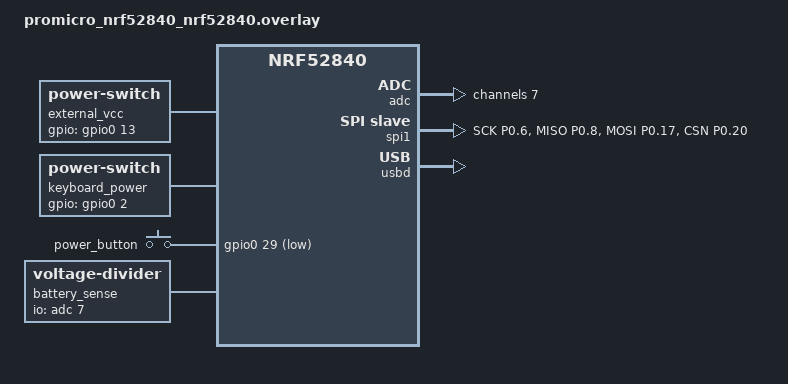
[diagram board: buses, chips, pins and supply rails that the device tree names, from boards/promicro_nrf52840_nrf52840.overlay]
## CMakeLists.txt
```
cmake_minimum_required(VERSION 3.20.0)

find_package(Zephyr REQUIRED HINTS $ENV{ZEPHYR_BASE})
project(spi_hids_keyboard_bridge)

target_sources(app PRIVATE
  src/main.c
  src/power_manager.c
  src/watchdog_manager.c
)
```

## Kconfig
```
mainmenu "SPI HIDS keyboard bridge"

source "Kconfig.zephyr"
```

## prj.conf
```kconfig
CONFIG_NCS_SAMPLES_DEFAULTS=y

CONFIG_BT=y
CONFIG_BT_PERIPHERAL=y
CONFIG_BT_SMP=y
CONFIG_BT_SMP_ALLOW_UNAUTH_OVERWRITE=y
CONFIG_BT_ID_UNPAIR_MATCHING_BONDS=y
CONFIG_BT_KEYS_OVERWRITE_OLDEST=y
CONFIG_BT_FILTER_ACCEPT_LIST=y
CONFIG_BT_DEVICE_NAME="HKB"
CONFIG_BT_DEVICE_APPEARANCE=961
CONFIG_BT_PERIPHERAL_PREF_MIN_INT=6
CONFIG_BT_PERIPHERAL_PREF_MAX_INT=12
CONFIG_BT_PERIPHERAL_PREF_LATENCY=0
CONFIG_BT_PERIPHERAL_PREF_TIMEOUT=400
CONFIG_BT_AUTO_PHY_UPDATE=n
CONFIG_BT_USER_DATA_LEN_UPDATE=y
CONFIG_BT_CONN_CTX=y
# Keep Bluetooth TX-notify processing off the system workqueue.  Transport
# handoff performs synchronous HCI advertising calls; sharing that queue with
# connection-complete flushes can otherwise deadlock during wired/wireless
# switching.
CONFIG_BT_CONN_TX_NOTIFY_WQ=y
CONFIG_BT_MAX_PAIRED=8
CONFIG_BT_ID_MAX=3

CONFIG_BT_HIDS=y
CONFIG_BT_HIDS_MAX_CLIENT_COUNT=1
CONFIG_BT_HIDS_ATTR_MAX=40
CONFIG_BT_HIDS_DEFAULT_PERM_RW_ENCRYPT=y
CONFIG_BT_GATT_CLIENT=y
CONFIG_BT_GATT_AUTO_UPDATE_MTU=y
CONFIG_BT_L2CAP_TX_MTU=65
CONFIG_BT_ATT_TX_COUNT=12
# Complete ATT notification callback as soon as the controller accepts the PDU
# into its TX queue so the SoftDevice Controller can pipeline multiple reports
# per connection event (MD=1) without stalling on single-packet radio ACKs.
CONFIG_BT_ATT_SENT_CB_AFTER_TX=n
CONFIG_BT_BUF_ACL_TX_SIZE=251
CONFIG_BT_BUF_ACL_RX_SIZE=251
CONFIG_BT_BUF_EVT_RX_COUNT=16
CONFIG_BT_GATT_UUID16_POOL_SIZE=40
CONFIG_BT_GATT_CHRC_POOL_SIZE=20
CONFIG_BT_L2CAP_TX_BUF_COUNT=12
CONFIG_BT_BUF_ACL_TX_COUNT=12
CONFIG_BT_CTLR_SDC_TX_PACKET_COUNT=12
CONFIG_BT_CTLR_PHY_2M=n
CONFIG_BT_CTLR_TX_PWR_PLUS_8=y
CONFIG_BT_CTLR_DATA_LENGTH_MAX=251
CONFIG_CLOCK_CONTROL_NRF_K32SRC_250PPM=y

CONFIG_BT_BAS=y
CONFIG_BT_DIS=y
CONFIG_BT_DIS_MANUF_NAME=y
CONFIG_BT_DIS_MANUF_NAME_STR="DIY"
CONFIG_BT_DIS_PNP=y
CONFIG_BT_DIS_PNP_VID_SRC=2
CONFIG_BT_DIS_PNP_VID=0xFFFF
CONFIG_BT_DIS_PNP_PID=0x0001
CONFIG_BT_DIS_PNP_VER=0x0001

CONFIG_BT_SETTINGS=y
CONFIG_FLASH=y
CONFIG_FLASH_PAGE_LAYOUT=y
CONFIG_FLASH_MAP=y
CONFIG_SETTINGS=y
CONFIG_NVS=y

CONFIG_SPI=y
CONFIG_ADC=y
CONFIG_POWEROFF=y

# The ProMicro USB connector is an independent, native nRF52840 CDC ACM
# diagnostic console.  UF2 flashing remains provided by the bootloader.
CONFIG_BOARD_SERIAL_BACKEND_CDC_ACM=y
CONFIG_USB_DEVICE_STACK_NEXT=y
CONFIG_CDC_ACM_SERIAL_INITIALIZE_AT_BOOT=y
CONFIG_SERIAL=y
CONFIG_UART_LINE_CTRL=y

CONFIG_LOG=y
CONFIG_LOG_MODE_MINIMAL=n
CONFIG_LOG_MODE_DEFERRED=y
CONFIG_LOG_MODE_OVERFLOW=y
CONFIG_LOG_BUFFER_SIZE=4096
CONFIG_LOG_PROCESS_THREAD_SLEEP_MS=50
CONFIG_CONSOLE=y
CONFIG_UART_CONSOLE=y
CONFIG_LOG_BACKEND_UART=y
CONFIG_LOG_BACKEND_UART_BUFFER_SIZE=128
CONFIG_USE_SEGGER_RTT=n
CONFIG_RTT_CONSOLE=n
CONFIG_LOG_BACKEND_RTT=n
CONFIG_ASSERT=y
CONFIG_MAIN_STACK_SIZE=3072

# Hardware watchdog timer
CONFIG_WATCHDOG=y
CONFIG_WDT_DISABLE_AT_BOOT=n

# Automatic crash self-healing: reboot instead of halting on fatal error/assert
CONFIG_REBOOT=y
CONFIG_RESET_ON_FATAL_ERROR=y
CONFIG_EXCEPTION_DEBUG=n
```

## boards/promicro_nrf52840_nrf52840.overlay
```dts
/*
 * SPI: SCK P0.06, MISO P0.08, MOSI P0.17, CSN P0.20
 * Power: TPS22919 ON P0.02, external VCC enable P0.13
 * Input: active-low power button P0.29, battery divider P0.31/AIN7
 */

#include <zephyr/dt-bindings/adc/adc.h>
#include <zephyr/dt-bindings/adc/nrf-saadc.h>
#include <zephyr/dt-bindings/gpio/gpio.h>

/ {
	external_vcc: external-vcc-control {
		compatible = "power-switch";
		gpios = <&gpio0 13 GPIO_ACTIVE_HIGH>;
	};

	keyboard_power: keyboard-power-control {
		compatible = "power-switch";
		gpios = <&gpio0 2 GPIO_ACTIVE_HIGH>;
	};

	buttons {
		compatible = "gpio-keys";

		power_button: power-button {
			gpios = <&gpio0 29 (GPIO_PULL_UP | GPIO_ACTIVE_LOW)>;
		};
	};

	battery_sense: battery-sense {
		compatible = "voltage-divider";
		io-channels = <&adc 7>;
		output-ohms = <1000000>;
		full-ohms = <2000000>;
	};
};

&adc {
	#address-cells = <1>;
	#size-cells = <0>;

	channel@7 {
		reg = <7>;
		zephyr,gain = "ADC_GAIN_1_6";
		zephyr,reference = "ADC_REF_INTERNAL";
		/*
		 * 1MΩ || 1MΩ gives a 500kΩ source impedance.  The capacitor at
		 * AIN7 supplies the SAADC sampling pulse; 40us is the longest
		 * acquisition time supported by the nRF52840 SAADC driver.
		 */
		zephyr,acquisition-time = <ADC_ACQ_TIME(ADC_ACQ_TIME_MICROSECONDS, 40)>;
		zephyr,input-positive = <NRF_SAADC_AIN7>;
		zephyr,resolution = <12>;
		/* Zephyr encodes oversampling as an exponent: 3 means 2^3 = 8 samples. */
		zephyr,oversampling = <3>;
	};
};

/*
 * No gpio-hog on P0.02/P0.13.
 *
 * The rails used to be forced high before main() ran, which made any edge on
 * P0.29 boot the whole keyboard -- a pocket brush was enough, and it left the
 * power switch asymmetric (1 s hold to shut down, instant to start).
 * power_manager_init() now brings the rails up only after the button has been
 * held for POWER_BUTTON_ON_HOLD_MS, so charging works with the keyboard off.
 */

&pinctrl {
	spi1_spis_default: spi1_spis_default {
		group1 {
			psels = <NRF_PSEL(SPIS_SCK, 0, 6)>,
				<NRF_PSEL(SPIS_MISO, 0, 8)>,
				<NRF_PSEL(SPIS_MOSI, 0, 17)>,
				<NRF_PSEL(SPIS_CSN, 0, 20)>;
		};
	};

	spi1_spis_sleep: spi1_spis_sleep {
		group1 {
			psels = <NRF_PSEL(SPIS_SCK, 0, 6)>,
				<NRF_PSEL(SPIS_MISO, 0, 8)>,
				<NRF_PSEL(SPIS_MOSI, 0, 17)>,
				<NRF_PSEL(SPIS_CSN, 0, 20)>;
			low-power-enable;
		};
	};
};

&spi1 {
	compatible = "nordic,nrf-spis";
	status = "okay";
	def-char = <0x00>;
	pinctrl-0 = <&spi1_spis_default>;
	pinctrl-1 = <&spi1_spis_sleep>;
	pinctrl-names = "default", "sleep";
};

/* The board DTS enables several general-purpose peripherals by default.  This
 * application only needs GPIO, SAADC, radio, and SPI1; leave the unused blocks
 * disabled so their drivers do not configure pins or consume idle power. */
&uart0 {
	status = "disabled";
};

&i2c0 {
	status = "disabled";
};

&i2c1 {
	status = "disabled";
};

&pwm0 {
	status = "disabled";
};

&spi2 {
	status = "disabled";
};

&ieee802154 {
	status = "disabled";
};

/* Native USB is used only as an independent CDC ACM diagnostic console. */
&usbd {
	status = "okay";
};
```

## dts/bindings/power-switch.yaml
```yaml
description: GPIO-controlled external power switch

compatible: "power-switch"

properties:
  gpios:
    type: phandle-array
    required: true
    description: GPIO that enables the external power rail
```

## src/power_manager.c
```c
#include "power_manager.h"

#include <errno.h>
#include <stdint.h>

#include <zephyr/bluetooth/services/bas.h>
#include <zephyr/device.h>
#include <zephyr/devicetree.h>
#include <zephyr/drivers/adc.h>
#include <zephyr/drivers/gpio.h>
#include <zephyr/kernel.h>
#include <zephyr/sys/atomic.h>
#include <zephyr/sys/poweroff.h>
#include <zephyr/sys/printk.h>
#include <zephyr/sys/reboot.h>
#include <zephyr/sys/util.h>
#include <hal/nrf_power.h>

#define BATTERY_NODE DT_NODELABEL(battery_sense)

#define BATTERY_SAMPLE_INTERVAL K_SECONDS(30)
#define BATTERY_FILTER_DOWN_WEIGHT 3  /* Falling voltage: (old*3 + new)/4 */
#define BATTERY_FILTER_UP_WEIGHT 15   /* Load recovery: (old*15 + new)/16 */
#define POWER_BUTTON_HOLD_MS 1000
#define BATTERY_IDLE_SAMPLE_COUNT 3            /* 空闲3次采样后取平均 */
#define POWER_BUTTON_RELEASE_DEBOUNCE_MS 30
/* Power-on needs the same deliberate hold as power-off.  Without this a single
 * edge on P0.29 booted the whole keyboard, so an accidental brush in a bag
 * turned it on and drained the battery. */
#define POWER_BUTTON_ON_HOLD_MS 1000
#define POWER_BUTTON_ON_POLL_MS 20
/* Let the internal pull-up settle before the first read.  main() runs this only
 * a few hundred microseconds after GPIO init. */
#define POWER_BUTTON_SETTLE_MS 5
/* The wake source may be a capacitive touch pad rather than a clean mechanical
 * contact, so its output can chatter during a hold.  Require the button to be
 * down for this share of the samples instead of every single one. */
#define POWER_BUTTON_ON_HOLD_MIN_PERCENT 70
/* Consecutive released samples that count as a real release (5 * 20ms = 100ms).
 * Anything shorter is treated as chatter inside a continuing hold. */
#define POWER_BUTTON_RELEASE_SAMPLES 5U
/* Upper bound on any wait-for-release loop.  A pad stuck active must not keep
 * the CPU spinning with the rails already down. */
#define POWER_BUTTON_RELEASE_TIMEOUT_MS 5000U
/* Length of the confirmation sampling window on the shutdown path.  The hold
 * work is scheduled this much earlier than POWER_BUTTON_HOLD_MS and then samples
 * for this long, so a pass still means the button was down for roughly
 * POWER_BUTTON_HOLD_MS in total. */
#define POWER_BUTTON_HOLD_CONFIRM_MS 200U

struct battery_curve_point {
	uint16_t millivolts;
	uint8_t percent;
};

static const struct battery_curve_point battery_curve[] = {
	{ 4200, 100 },
	{ 4100, 90 },
	{ 4000, 80 },
	{ 3920, 70 },
	{ 3850, 60 },
	{ 3790, 50 },
	{ 3740, 40 },
	{ 3700, 30 },
	{ 3650, 20 },
	{ 3550, 10 },
	{ 3400, 5 },
	{ 3300, 0 },
};

static const struct gpio_dt_spec external_vcc_enable =
	GPIO_DT_SPEC_GET(DT_NODELABEL(external_vcc), gpios);
static const struct gpio_dt_spec keyboard_load_enable =
	GPIO_DT_SPEC_GET(DT_NODELABEL(keyboard_power), gpios);
static const struct gpio_dt_spec power_button =
	GPIO_DT_SPEC_GET(DT_NODELABEL(power_button), gpios);
static const struct adc_dt_spec battery_adc = ADC_DT_SPEC_GET(BATTERY_NODE);

static atomic_t keyboard_powered = ATOMIC_INIT(1);
static atomic_t shutdown_started = ATOMIC_INIT(0);
static bool power_gpio_ready;
K_MUTEX_DEFINE(power_mutex);

static bool battery_ready;
static bool battery_calibrate = true;
static int32_t battery_filtered_mv;
static int32_t battery_samples[BATTERY_IDLE_SAMPLE_COUNT];
static uint8_t battery_sample_index;
static uint8_t battery_sample_count;
static struct k_work_delayable battery_work;

static bool power_button_ready;
static struct gpio_callback power_button_callback;
static struct k_work_delayable power_button_hold_work;
static power_shutdown_prepare_cb_t shutdown_prepare_cb;

static uint8_t battery_percent_from_mv(int32_t millivolts)
{
	if (millivolts >= battery_curve[0].millivolts) {
		return battery_curve[0].percent;
	}

	for (size_t i = 1; i < ARRAY_SIZE(battery_curve); i++) {
		const struct battery_curve_point *high = &battery_curve[i - 1];
		const struct battery_curve_point *low = &battery_curve[i];

		if (millivolts >= low->millivolts) {
			return low->percent +
			       (uint32_t)(high->percent - low->percent) *
			       (millivolts - low->millivolts) /
			       (high->millivolts - low->millivolts);
		}
	}

	return 0;
}

static int battery_sample_mv(int32_t *battery_mv)
{
	int16_t raw;
	struct adc_sequence sequence = {
		.buffer = &raw,
		.buffer_size = sizeof(raw),
		.calibrate = battery_calibrate,
	};

	/* Hardware SAADC oversampling (4x = 16 samples in devicetree) averages
	 * high-frequency noise in a single conversion without stalling the
	 * system workqueue across multiple k_msleep() delays. */
	int ret = adc_sequence_init_dt(&battery_adc, &sequence);
	if (ret < 0) {
		return ret;
	}

	sequence.calibrate = battery_calibrate;
	ret = adc_read_dt(&battery_adc, &sequence);
	if (ret < 0) {
		return ret;
	}
	battery_calibrate = false;

	int32_t divider_mv = raw;
	ret = adc_raw_to_millivolts_dt(&battery_adc, &divider_mv);
	if (ret < 0) {
		return ret;
	}

	/* 2倍分压，恢复实际电池电压 */
	*battery_mv = divider_mv * (uint64_t)DT_PROP(BATTERY_NODE, full_ohms) /
		      DT_PROP(BATTERY_NODE, output_ohms);
	return 0;
}

/* Average consecutive sampling periods to reduce load transients. */
static int battery_get_stable_mv(int32_t *stable_mv)
{
	int32_t sample_mv;
	int ret = battery_sample_mv(&sample_mv);

	if (ret < 0) {
		return ret;
	}

	/* 累积多次采样 */
	battery_samples[battery_sample_index] = sample_mv;
	battery_sample_index = (battery_sample_index + 1) % BATTERY_IDLE_SAMPLE_COUNT;
	if (battery_sample_count < BATTERY_IDLE_SAMPLE_COUNT) {
		battery_sample_count++;
	}

	/* 计算平均值（去除负载瞬态影响） */
	int64_t sum = 0;
	for (uint8_t i = 0; i < battery_sample_count; i++) {
		sum += battery_samples[i];
	}
	*stable_mv = (int32_t)(sum / battery_sample_count);
	return 0;
}

static void battery_work_fn(struct k_work *work)
{
	ARG_UNUSED(work);

	int32_t millivolts;
	int ret = battery_get_stable_mv(&millivolts);

	if (ret < 0) {
		/* Never turn an ADC error into a plausible but false battery value. */
		printk("Battery sample failed: %d\n", ret);
		(void)k_work_reschedule(&battery_work, BATTERY_SAMPLE_INTERVAL);
		return;
	}

	/* 初次读数或滤波值为0时，直接使用当前值 */
	if (battery_filtered_mv == 0) {
		battery_filtered_mv = millivolts;
	} else {
		/* Voltage rebounds when the key/LED load is removed.  Accept rises much
		 * more slowly than falls so reconnecting does not produce large jumps,
		 * while real charging can still move the estimate upward. */
		const int32_t weight = millivolts > battery_filtered_mv ?
			BATTERY_FILTER_UP_WEIGHT : BATTERY_FILTER_DOWN_WEIGHT;

		battery_filtered_mv =
			(battery_filtered_mv * weight + millivolts) / (weight + 1);
	}

	uint8_t percent = battery_percent_from_mv(battery_filtered_mv);

	ret = bt_bas_set_battery_level(percent);
	if (ret < 0 && ret != -EINVAL) {
		/* 不打印错误，避免未连接时刷屏 */
	}
	/* Keep both values in RTT so the divider/ADC can be calibrated separately
	 * from the load-dependent percentage curve. */
	printk("Battery: sample=%d mV, filtered=%d mV, %u%%\n",
	       millivolts, battery_filtered_mv, percent);

	(void)k_work_reschedule(&battery_work, BATTERY_SAMPLE_INTERVAL);
}

bool keyboard_power_is_enabled(void)
{
	return atomic_get(&keyboard_powered) != 0;
}

void keyboard_power_set(bool enabled)
{
	if (!power_gpio_ready) {
		printk("Keyboard power command ignored: GPIOs not ready\n");
		return;
	}

	k_mutex_lock(&power_mutex, K_FOREVER);
	if (enabled == keyboard_power_is_enabled()) {
		k_mutex_unlock(&power_mutex);
		return;
	}

	int ret;

	if (enabled) {
		ret = gpio_pin_set_dt(&external_vcc_enable, 1);
		if (ret == 0) {
			k_msleep(2);
			ret = gpio_pin_set_dt(&keyboard_load_enable, 1);
		}
	} else {
		ret = gpio_pin_set_dt(&keyboard_load_enable, 0);
		if (ret == 0) {
			k_msleep(2);
			ret = gpio_pin_set_dt(&external_vcc_enable, 0);
		}
	}

	if (ret < 0) {
		printk("Keyboard power GPIO write failed: %d\n", ret);
	} else {
		atomic_set(&keyboard_powered, enabled ? 1 : 0);
		printk("Keyboard power %s (P0.02=%u, P0.13=%u)\n",
		       enabled ? "on" : "off", enabled ? 1U : 0U,
		       enabled ? 1U : 0U);
	}
	k_mutex_unlock(&power_mutex);
}

static bool power_button_is_pressed(void)
{
	int value = gpio_pin_get_dt(&power_button);

	if (value < 0) {
		printk("Power button read failed: %d\n", value);
		return false;
	}

	return value != 0;
}

/* Sample the button over window_ms and report whether it read pressed for at
 * least POWER_BUTTON_ON_HOLD_MIN_PERCENT of the samples.
 *
 * A single gpio_pin_get_dt() is not enough to decide "still held": the wake
 * source is a touch pad whose output chatters, so an unlucky instant reads
 * released while the finger is still down.  That is what made shutdown feel
 * unreliable -- the 1 s check landed in a gap and silently did nothing. */
static bool power_button_held_over(uint32_t window_ms)
{
	const uint32_t samples = window_ms / POWER_BUTTON_ON_POLL_MS;
	const uint32_t needed = (samples * POWER_BUTTON_ON_HOLD_MIN_PERCENT) / 100U;
	uint32_t pressed_samples = 0;
	uint32_t consecutive_release = 0;

	for (uint32_t i = 0; i < samples; i++) {
		if (power_button_is_pressed()) {
			pressed_samples++;
			consecutive_release = 0;
		} else if (++consecutive_release >= POWER_BUTTON_RELEASE_SAMPLES) {
			/* Solid release: the user let go, no point sampling on. */
			break;
		}
		k_msleep(POWER_BUTTON_ON_POLL_MS);
	}

	printk("Power button hold: %u/%u samples (need %u)\n",
	       (unsigned int)pressed_samples, (unsigned int)samples,
	       (unsigned int)needed);
	return pressed_samples >= needed;
}

/* Block until the button reads released for POWER_BUTTON_RELEASE_SAMPLES in a
 * row, so chatter mid-release does not end the wait early.  Bounded by
 * POWER_BUTTON_RELEASE_TIMEOUT_MS: a stuck-low pad must not wedge the caller,
 * because on the shutdown path that would keep the CPU out of System OFF and
 * drain the battery with the rails already down. */
static void power_button_wait_for_release(void)
{
	uint32_t consecutive_release = 0;
	uint32_t waited_ms = 0;

	while (consecutive_release < POWER_BUTTON_RELEASE_SAMPLES) {
		if (power_button_is_pressed()) {
			consecutive_release = 0;
		} else {
			consecutive_release++;
		}

		if (waited_ms >= POWER_BUTTON_RELEASE_TIMEOUT_MS) {
			printk("Power button still active after %ums; continuing\n",
			       (unsigned int)waited_ms);
			return;
		}

		k_msleep(POWER_BUTTON_ON_POLL_MS);
		waited_ms += POWER_BUTTON_ON_POLL_MS;
	}
}

static void power_manager_shutdown_impl(bool allow_gpio_wake)
{
	if (!atomic_cas(&shutdown_started, 0, 1)) {
		return;
	}

	printk("System shutdown requested\n");
	if (power_button_ready) {
		(void)gpio_pin_interrupt_configure_dt(&power_button, GPIO_INT_DISABLE);
	}
	if (battery_ready) {
		(void)k_work_cancel_delayable(&battery_work);
	}

	if (shutdown_prepare_cb) {
		shutdown_prepare_cb();
	}

	keyboard_power_set(false);

	/* nRF52840 hardware watchdog cannot be stopped while running; entering System OFF
	 * with active WDT would cause false wakeups after the timeout expires.
	 * We set GPREGRET magic and reset the SOC, entering a clean System OFF on next boot
	 * BEFORE the watchdog is ever started.
	 */
	if (allow_gpio_wake && power_button_ready) {
		power_button_wait_for_release();
		k_msleep(POWER_BUTTON_RELEASE_DEBOUNCE_MS);
		nrf_power_gpregret_set(NRF_POWER, 0, POWER_GPREGRET_SHUTDOWN_WAKE);
		printk("Resetting SOC to enter clean System OFF (wake enabled)...\n");
	} else {
		nrf_power_gpregret_set(NRF_POWER, 0, POWER_GPREGRET_SHUTDOWN_NO_WAKE);
		printk("Resetting SOC to enter clean System OFF (wake disabled)...\n");
	}

	k_msleep(10);
	sys_reboot(SYS_REBOOT_COLD);
}

void power_manager_shutdown(void)
{
	power_manager_shutdown_impl(true);
}

void power_manager_shutdown_no_wake(void)
{
	power_manager_shutdown_impl(false);
}

static void power_button_hold_fn(struct k_work *work)
{
	ARG_UNUSED(work);

	/* Confirm over a window instead of a single read at the 1 s mark.  The
	 * work fires POWER_BUTTON_HOLD_CONFIRM_MS early so a pass still means the
	 * button was down for about POWER_BUTTON_HOLD_MS in total. */
	if (power_button_held_over(POWER_BUTTON_HOLD_CONFIRM_MS)) {
		power_manager_shutdown();
	} else {
		printk("Power button released early; no shutdown\n");
	}
}

static void power_button_handler(const struct device *port,
				 struct gpio_callback *callback,
				 gpio_port_pins_t pins)
{
	ARG_UNUSED(port);
	ARG_UNUSED(callback);
	ARG_UNUSED(pins);

	(void)k_work_schedule(&power_button_hold_work,
			      K_MSEC(POWER_BUTTON_HOLD_MS -
				     POWER_BUTTON_HOLD_CONFIRM_MS));
}

/* True when this boot came from System OFF (i.e. a P0.29 wake) rather than a
 * cold start such as a fresh flash, USB attach, or pin reset.
 *
 * A cold start has nobody holding the button, so gating it on a hold would drop
 * straight back into System OFF and look like dead hardware.  Only a wake from
 * System OFF is required to prove intent. */
static bool boot_is_wake_from_system_off(void)
{
	uint32_t reas = nrf_power_resetreas_get(NRF_POWER);

	/* Clear so the next boot sees only its own cause. */
	nrf_power_resetreas_clear(NRF_POWER, reas);

	printk("RESETREAS=0x%08X", (unsigned int)reas);
	if (reas & NRF_POWER_RESETREAS_DOG_MASK) {
		printk(" [WATCHDOG RESET - auto self-healed]");
	}
	if (reas & NRF_POWER_RESETREAS_SREQ_MASK) {
		printk(" [SOFTWARE RESET]");
	}
	if (reas & NRF_POWER_RESETREAS_OFF_MASK) {
		printk(" [SYSTEM OFF WAKE]");
	}
	if (reas & NRF_POWER_RESETREAS_RESETPIN_MASK) {
		printk(" [PIN RESET]");
	}
	printk("\n");

	return (reas & NRF_POWER_RESETREAS_OFF_MASK) != 0U;
}

/* Wait for a deliberate hold on P0.29 before powering the keyboard.
 *
 * Returns true if the button was down for at least
 * POWER_BUTTON_ON_HOLD_MIN_PERCENT of the sampling window.  Runs before SPI and
 * Bluetooth are up, so polling is fine.  A brief edge (bag brush, or the release
 * bounce of the shutdown press itself) fails the threshold and the caller goes
 * back to System OFF instead of booting the keyboard.
 *
 * The threshold rather than an all-or-nothing check matters because the wake
 * source may be a capacitive touch pad whose output chatters while held. */
static bool power_button_wait_for_on_hold(void)
{
	/* Let the internal pull-up settle before the first read. */
	k_msleep(POWER_BUTTON_SETTLE_MS);

	return power_button_held_over(POWER_BUTTON_ON_HOLD_MS);
}

/* Re-arm P0.29 as the wake source and go back to System OFF without touching
 * the keyboard rails -- they were never brought up on this boot. */
static void power_manager_abort_boot(void)
{
	printk("Power button not held; returning to System OFF\n");
	(void)gpio_pin_interrupt_configure_dt(&power_button, GPIO_INT_DISABLE);

	power_button_wait_for_release();
	k_msleep(POWER_BUTTON_RELEASE_DEBOUNCE_MS);

	int ret = gpio_pin_interrupt_configure_dt(&power_button, GPIO_INT_LEVEL_ACTIVE);

	if (ret < 0) {
		printk("Power button wake configuration failed: %d\n", ret);
	}
	k_msleep(5);
	sys_poweroff();
}

int power_manager_init(power_shutdown_prepare_cb_t shutdown_prepare)
{
	shutdown_prepare_cb = shutdown_prepare;

	/* If boot came from shutdown transition, enter clean System OFF immediately
	 * before watchdog is ever started.
	 */
	uint32_t gpregret = nrf_power_gpregret_get(NRF_POWER, 0);
	if (gpregret == POWER_GPREGRET_SHUTDOWN_WAKE ||
	    gpregret == POWER_GPREGRET_SHUTDOWN_NO_WAKE) {
		nrf_power_gpregret_set(NRF_POWER, 0, 0);
		printk("Shutdown transition detected (GPREGRET=0x%02X)\n", (unsigned int)gpregret);

		if (gpio_is_ready_dt(&external_vcc_enable)) {
			(void)gpio_pin_configure_dt(&external_vcc_enable, GPIO_OUTPUT_INACTIVE);
		}
		if (gpio_is_ready_dt(&keyboard_load_enable)) {
			(void)gpio_pin_configure_dt(&keyboard_load_enable, GPIO_OUTPUT_INACTIVE);
		}

		if (gpregret == POWER_GPREGRET_SHUTDOWN_WAKE && gpio_is_ready_dt(&power_button)) {
			(void)gpio_pin_configure_dt(&power_button, GPIO_INPUT);
			power_button_wait_for_release();
			k_msleep(POWER_BUTTON_RELEASE_DEBOUNCE_MS);
			int ret = gpio_pin_interrupt_configure_dt(&power_button, GPIO_INT_LEVEL_ACTIVE);
			if (ret < 0) {
				printk("Power button wake configuration failed: %d\n", ret);
			}
			printk("Entering clean System OFF (WDT stopped); press P0.29 to wake\n");
		} else {
			printk("Entering clean System OFF (WDT stopped); cycle switch to restart\n");
		}

		k_msleep(5);
		sys_poweroff();
		return 0;
	}

	if (!gpio_is_ready_dt(&external_vcc_enable) ||
	    !gpio_is_ready_dt(&keyboard_load_enable)) {
		printk("Keyboard power GPIO device not ready\n");
		return -ENODEV;
	}

	/* Start with both rails off.  The devicetree gpio-hog that used to force
	 * them high before main() is gone, so nothing is powered until the
	 * power-on hold below is satisfied. */
	int ret = gpio_pin_configure_dt(&external_vcc_enable, GPIO_OUTPUT_INACTIVE);

	if (ret < 0) {
		return ret;
	}
	ret = gpio_pin_configure_dt(&keyboard_load_enable, GPIO_OUTPUT_INACTIVE);
	if (ret < 0) {
		return ret;
	}
	power_gpio_ready = true;
	atomic_set(&keyboard_powered, 0);

	/* The power button must be readable to gate the boot.  If it is not, fall
	 * back to powering up unconditionally so the keyboard is never bricked. */
	if (!gpio_is_ready_dt(&power_button)) {
		printk("Power button GPIO not ready; powering up unconditionally\n");
		keyboard_power_set(true);
		return 0;
	}

	ret = gpio_pin_configure_dt(&power_button, GPIO_INPUT);
	if (ret < 0) {
		printk("Power button setup failed: %d; powering up unconditionally\n", ret);
		keyboard_power_set(true);
		return 0;
	}
	power_button_ready = true;

	/* Only a wake from System OFF has to prove intent with a hold.  A cold
	 * start (fresh flash, USB attach, pin reset) powers up directly -- nobody
	 * is holding the button then, and refusing to boot would look like dead
	 * hardware. */
	if (boot_is_wake_from_system_off() && !power_button_wait_for_on_hold()) {
		power_manager_abort_boot();
		/* Not reached. */
		return 0;
	}

	keyboard_power_set(true);
	printk("Keyboard power on (TPS22919 ON=P0.02)\n");

	if (!adc_is_ready_dt(&battery_adc)) {
		printk("Battery ADC device not ready\n");
	} else {
		ret = adc_channel_setup_dt(&battery_adc);
		if (ret < 0) {
			printk("Battery ADC setup failed: %d\n", ret);
		} else {
			battery_ready = true;
			k_work_init_delayable(&battery_work, battery_work_fn);
		}
	}

	/* The button pin itself was already configured above to gate the boot;
	 * only the shutdown-hold work and its callback remain to be wired up. */
	k_work_init_delayable(&power_button_hold_work, power_button_hold_fn);
	gpio_init_callback(&power_button_callback, power_button_handler,
			   BIT(power_button.pin));
	ret = gpio_add_callback(power_button.port, &power_button_callback);
	if (ret < 0) {
		printk("Power button callback setup failed: %d\n", ret);
		power_button_ready = false;
		return 0;
	}

	printk("Power button configured on P0.29 (active low)\n");
	return 0;
}

void power_manager_start(void)
{
	if (battery_ready) {
		(void)k_work_reschedule(&battery_work, K_NO_WAIT);
	}

	if (power_button_ready) {
		int ret = gpio_pin_interrupt_configure_dt(&power_button,
						  GPIO_INT_EDGE_TO_ACTIVE);

		if (ret < 0) {
			printk("Power button interrupt setup failed: %d\n", ret);
		}
	}
}
```

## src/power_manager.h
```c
#ifndef POWER_MANAGER_H_
#define POWER_MANAGER_H_

#include <stdbool.h>

#define POWER_GPREGRET_SHUTDOWN_WAKE    0xA5U
#define POWER_GPREGRET_SHUTDOWN_NO_WAKE 0x5AU

typedef void (*power_shutdown_prepare_cb_t)(void);

int power_manager_init(power_shutdown_prepare_cb_t shutdown_prepare);
void power_manager_start(void);
void keyboard_power_set(bool enabled);
bool keyboard_power_is_enabled(void);
void power_manager_shutdown(void);
void power_manager_shutdown_no_wake(void);

#endif /* POWER_MANAGER_H_ */
```

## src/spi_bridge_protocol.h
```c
#pragma once

#include <stdbool.h>
#include <stdint.h>
#include <string.h>

#define SPI_BRIDGE_FRAME_LEN 48u
#define SPI_BRIDGE_ACK_LEN 8u

#define SPI_BRIDGE_BOOT_REPORT_LEN 8u
#define SPI_BRIDGE_BOOT_REPORT_MODS_INDEX 0u
#define SPI_BRIDGE_BOOT_REPORT_RESERVED_INDEX 1u
#define SPI_BRIDGE_BOOT_REPORT_KEYS_INDEX 2u
#define SPI_BRIDGE_BOOT_REPORT_KEYS_LEN 6u

#define SPI_BRIDGE_NKRO_BITS_LEN 30u
#define SPI_BRIDGE_NKRO_REPORT_LEN (1u + SPI_BRIDGE_NKRO_BITS_LEN)

#define SPI_BRIDGE_FRAME_HDR0 0xB4u
#define SPI_BRIDGE_FRAME_HDR1 0x4Bu
#define SPI_BRIDGE_FRAME_TYPE_INDEX 2u
#define SPI_BRIDGE_FRAME_VERSION_INDEX 3u
#define SPI_BRIDGE_FRAME_SEQ_INDEX 4u
#define SPI_BRIDGE_FRAME_PAYLOAD_LEN_INDEX 5u
#define SPI_BRIDGE_FRAME_PAYLOAD_INDEX 8u
#define SPI_BRIDGE_FRAME_CRC_INDEX 46u
#define SPI_BRIDGE_FRAME_TAIL_INDEX 47u
#define SPI_BRIDGE_FRAME_TAIL 0x96u
#define SPI_BRIDGE_FRAME_VERSION 1u
#define SPI_BRIDGE_FRAME_PAYLOAD_MAX \
	(SPI_BRIDGE_FRAME_CRC_INDEX - SPI_BRIDGE_FRAME_PAYLOAD_INDEX)

#define SPI_BRIDGE_REPORT_KEYBOARD_BOOT 0x01u
#define SPI_BRIDGE_REPORT_KEYBOARD_NKRO 0x02u
#define SPI_BRIDGE_REPORT_CONSUMER 0x03u
#define SPI_BRIDGE_REPORT_SYSTEM 0x04u

#define SPI_BRIDGE_PROFILE_COUNT 3u

#define SPI_BRIDGE_CTRL_PROFILE_1 0x01u
#define SPI_BRIDGE_CTRL_PROFILE_2 0x02u
#define SPI_BRIDGE_CTRL_PROFILE_3 0x03u
#define SPI_BRIDGE_CTRL_PROFILE_LAST SPI_BRIDGE_CTRL_PROFILE_3
#define SPI_BRIDGE_CTRL_USER_ACTIVITY 0xF1u
#define SPI_BRIDGE_CTRL_DISCONNECT 0xF2u
#define SPI_BRIDGE_CTRL_CLEAR_ACTIVE 0xF3u
#define SPI_BRIDGE_CTRL_CLEAR_ALL 0xF4u
#define SPI_BRIDGE_CTRL_USB_ABSENT 0xF5u
#define SPI_BRIDGE_CTRL_USB_PRESENT 0xF6u
#define SPI_BRIDGE_CTRL_MODE_WIRED 0xF7u
#define SPI_BRIDGE_CTRL_MODE_WIRELESS 0xF8u
#define SPI_BRIDGE_CTRL_DEBUG_FEEDBACK_0 0xE8u
#define SPI_BRIDGE_CTRL_DEBUG_FEEDBACK_1 0xE9u
#define SPI_BRIDGE_CTRL_DEBUG_FEEDBACK_COUNT 0xEAu

#define SPI_BRIDGE_CTRL_HDR0 0xC3u
#define SPI_BRIDGE_CTRL_HDR1 0x3Cu
#define SPI_BRIDGE_CTRL_CMD_INDEX 2u
#define SPI_BRIDGE_CTRL_SEQ_INDEX 3u
#define SPI_BRIDGE_CTRL_CMD_INV_INDEX 4u
#define SPI_BRIDGE_CTRL_SEQ_INV_INDEX 5u
#define SPI_BRIDGE_CTRL_CRC_INDEX 6u
#define SPI_BRIDGE_CTRL_TAIL_INDEX 7u
#define SPI_BRIDGE_CTRL_TAIL 0x69u

#define SPI_BRIDGE_HOST_LED_NUM_LOCK 0x01u
#define SPI_BRIDGE_HOST_LED_CAPS_LOCK 0x02u
#define SPI_BRIDGE_HOST_LED_SCROLL_LOCK 0x04u
#define SPI_BRIDGE_HOST_LED_MASK \
	(SPI_BRIDGE_HOST_LED_NUM_LOCK | SPI_BRIDGE_HOST_LED_CAPS_LOCK | SPI_BRIDGE_HOST_LED_SCROLL_LOCK)

#define SPI_BRIDGE_ACK_LED_PROFILE_SHIFT 3u
#define SPI_BRIDGE_ACK_LED_PROFILE_MASK (0x03u << SPI_BRIDGE_ACK_LED_PROFILE_SHIFT)
#define SPI_BRIDGE_ACK_LED_BLE_IND_ACTIVE 0x20u
#define SPI_BRIDGE_ACK_LED_BLE_IND_ON 0x40u
#define SPI_BRIDGE_ACK_LED_VALID_BITS_MASK \
	(SPI_BRIDGE_HOST_LED_MASK | SPI_BRIDGE_ACK_LED_PROFILE_MASK | \
	 SPI_BRIDGE_ACK_LED_BLE_IND_ACTIVE | SPI_BRIDGE_ACK_LED_BLE_IND_ON)

#define SPI_BRIDGE_ACK_HDR0 0xA5u
#define SPI_BRIDGE_ACK_HDR1 0x5Au
#define SPI_BRIDGE_ACK_COUNT_LO_INDEX 2u
#define SPI_BRIDGE_ACK_COUNT_HI_INDEX 3u
#define SPI_BRIDGE_ACK_LED_INDEX 4u
#define SPI_BRIDGE_ACK_FLAGS_INDEX 5u
#define SPI_BRIDGE_ACK_CTRL_SEQ_INDEX 6u
#define SPI_BRIDGE_ACK_CTRL_CMD_INDEX 7u
#define SPI_BRIDGE_ACK_REPORT_TOKEN 0x00u
#define SPI_BRIDGE_ACK_FLAG_LED_VALID 0x01u
#define SPI_BRIDGE_ACK_FLAG_LINK_ON 0x02u
#define SPI_BRIDGE_ACK_FLAG_PAIRING_ON 0x04u
#define SPI_BRIDGE_ACK_FLAG_PROFILE_VALID 0x08u
#define SPI_BRIDGE_ACK_FLAG_MODE_WIRELESS 0x10u
#define SPI_BRIDGE_ACK_FLAG_MAGIC_MASK 0xE0u
#define SPI_BRIDGE_ACK_FLAG_MAGIC_VALUE 0xA0u

struct spi_bridge_ack_state {
	uint16_t frame_counter;
	uint8_t host_led_bits;
	uint8_t active_profile;
	uint8_t flags;
	uint8_t last_ctrl_seq;
	uint8_t last_ctrl_cmd;
	bool led_valid;
	bool ble_ind_active;
	bool ble_ind_on;
};

static inline uint8_t spi_bridge_crc8(const uint8_t *data, uint8_t len)
{
	uint8_t crc = 0u;

	for (uint8_t i = 0; i < len; i++) {
		crc ^= data[i];
		for (uint8_t bit = 0; bit < 8u; bit++) {
			crc = (crc & 0x80u) ? (uint8_t)((crc << 1) ^ 0x07u) :
				(uint8_t)(crc << 1);
		}
	}

	return crc;
}

static inline bool spi_bridge_report_type_valid(uint8_t type)
{
	return type >= SPI_BRIDGE_REPORT_KEYBOARD_BOOT && type <= SPI_BRIDGE_REPORT_SYSTEM;
}

static inline bool spi_bridge_report_payload_len_valid(uint8_t type, uint8_t len)
{
	switch (type) {
	case SPI_BRIDGE_REPORT_KEYBOARD_BOOT:
		return len == SPI_BRIDGE_BOOT_REPORT_LEN;
	case SPI_BRIDGE_REPORT_KEYBOARD_NKRO:
		return len == SPI_BRIDGE_NKRO_REPORT_LEN;
	case SPI_BRIDGE_REPORT_CONSUMER:
	case SPI_BRIDGE_REPORT_SYSTEM:
		return len == sizeof(uint16_t);
	default:
		return false;
	}
}

static inline bool spi_bridge_report_frame_write(uint8_t frame[SPI_BRIDGE_FRAME_LEN],
						  uint8_t type, uint8_t sequence,
						  const uint8_t *payload, uint8_t payload_len)
{
	if (!spi_bridge_report_payload_len_valid(type, payload_len) ||
	    payload_len > SPI_BRIDGE_FRAME_PAYLOAD_MAX || !payload) {
		return false;
	}

	memset(frame, 0, SPI_BRIDGE_FRAME_LEN);
	frame[0] = SPI_BRIDGE_FRAME_HDR0;
	frame[1] = SPI_BRIDGE_FRAME_HDR1;
	frame[SPI_BRIDGE_FRAME_TYPE_INDEX] = type;
	frame[SPI_BRIDGE_FRAME_VERSION_INDEX] = SPI_BRIDGE_FRAME_VERSION;
	frame[SPI_BRIDGE_FRAME_SEQ_INDEX] = sequence;
	frame[SPI_BRIDGE_FRAME_PAYLOAD_LEN_INDEX] = payload_len;
	memcpy(&frame[SPI_BRIDGE_FRAME_PAYLOAD_INDEX], payload, payload_len);
	frame[SPI_BRIDGE_FRAME_CRC_INDEX] =
		spi_bridge_crc8(frame, SPI_BRIDGE_FRAME_CRC_INDEX);
	frame[SPI_BRIDGE_FRAME_TAIL_INDEX] = SPI_BRIDGE_FRAME_TAIL;
	return true;
}

static inline bool spi_bridge_report_frame_read(const uint8_t frame[SPI_BRIDGE_FRAME_LEN],
						 uint8_t *type, uint8_t *sequence,
						 const uint8_t **payload, uint8_t *payload_len)
{
	if (!frame || frame[0] != SPI_BRIDGE_FRAME_HDR0 ||
	    frame[1] != SPI_BRIDGE_FRAME_HDR1 ||
	    frame[SPI_BRIDGE_FRAME_VERSION_INDEX] != SPI_BRIDGE_FRAME_VERSION ||
	    frame[SPI_BRIDGE_FRAME_TAIL_INDEX] != SPI_BRIDGE_FRAME_TAIL ||
	    frame[SPI_BRIDGE_FRAME_CRC_INDEX] !=
		spi_bridge_crc8(frame, SPI_BRIDGE_FRAME_CRC_INDEX)) {
		return false;
	}

	uint8_t report_type = frame[SPI_BRIDGE_FRAME_TYPE_INDEX];
	uint8_t report_len = frame[SPI_BRIDGE_FRAME_PAYLOAD_LEN_INDEX];

	if (!spi_bridge_report_type_valid(report_type) ||
	    !spi_bridge_report_payload_len_valid(report_type, report_len) ||
	    report_len > SPI_BRIDGE_FRAME_PAYLOAD_MAX) {
		return false;
	}

	if (type) {
		*type = report_type;
	}
	if (sequence) {
		*sequence = frame[SPI_BRIDGE_FRAME_SEQ_INDEX];
	}
	if (payload) {
		*payload = &frame[SPI_BRIDGE_FRAME_PAYLOAD_INDEX];
	}
	if (payload_len) {
		*payload_len = report_len;
	}
	return true;
}

static inline bool spi_bridge_control_cmd_valid(uint8_t cmd)
{
	return (cmd >= SPI_BRIDGE_CTRL_PROFILE_1 && cmd <= SPI_BRIDGE_CTRL_PROFILE_LAST) ||
	       cmd == SPI_BRIDGE_CTRL_USER_ACTIVITY || cmd == SPI_BRIDGE_CTRL_DISCONNECT ||
	       cmd == SPI_BRIDGE_CTRL_CLEAR_ACTIVE ||
	       cmd == SPI_BRIDGE_CTRL_CLEAR_ALL || cmd == SPI_BRIDGE_CTRL_USB_ABSENT ||
	       cmd == SPI_BRIDGE_CTRL_USB_PRESENT || cmd == SPI_BRIDGE_CTRL_MODE_WIRED ||
	       cmd == SPI_BRIDGE_CTRL_MODE_WIRELESS ||
	       (cmd >= SPI_BRIDGE_CTRL_DEBUG_FEEDBACK_0 &&
		cmd <= SPI_BRIDGE_CTRL_DEBUG_FEEDBACK_COUNT);
}

static inline void spi_bridge_control_frame_write(uint8_t frame[SPI_BRIDGE_FRAME_LEN],
						   uint8_t cmd, uint8_t sequence)
{
	memset(frame, 0, SPI_BRIDGE_FRAME_LEN);
	frame[0] = SPI_BRIDGE_CTRL_HDR0;
	frame[1] = SPI_BRIDGE_CTRL_HDR1;
	frame[SPI_BRIDGE_CTRL_CMD_INDEX] = cmd;
	frame[SPI_BRIDGE_CTRL_SEQ_INDEX] = sequence;
	frame[SPI_BRIDGE_CTRL_CMD_INV_INDEX] = (uint8_t)~cmd;
	frame[SPI_BRIDGE_CTRL_SEQ_INV_INDEX] = (uint8_t)~sequence;
	frame[SPI_BRIDGE_CTRL_CRC_INDEX] = spi_bridge_crc8(frame, SPI_BRIDGE_CTRL_CRC_INDEX);
	frame[SPI_BRIDGE_CTRL_TAIL_INDEX] = SPI_BRIDGE_CTRL_TAIL;
}

static inline void spi_bridge_ack_frame_write(uint8_t frame[SPI_BRIDGE_FRAME_LEN],
						       uint16_t frame_counter,
						       uint8_t host_led_bits, uint8_t flags,
						       uint8_t last_ctrl_seq, uint8_t last_ctrl_cmd)
{
	memset(frame, 0, SPI_BRIDGE_FRAME_LEN);
	frame[0] = SPI_BRIDGE_ACK_HDR0;
	frame[1] = SPI_BRIDGE_ACK_HDR1;
	frame[SPI_BRIDGE_ACK_COUNT_LO_INDEX] = (uint8_t)(frame_counter & 0xFFu);
	frame[SPI_BRIDGE_ACK_COUNT_HI_INDEX] = (uint8_t)(frame_counter >> 8);
	frame[SPI_BRIDGE_ACK_LED_INDEX] = host_led_bits & SPI_BRIDGE_ACK_LED_VALID_BITS_MASK;
	frame[SPI_BRIDGE_ACK_FLAGS_INDEX] =
		(flags & ~SPI_BRIDGE_ACK_FLAG_MAGIC_MASK) | SPI_BRIDGE_ACK_FLAG_MAGIC_VALUE;
	frame[SPI_BRIDGE_ACK_CTRL_SEQ_INDEX] = last_ctrl_seq;
	frame[SPI_BRIDGE_ACK_CTRL_CMD_INDEX] = last_ctrl_cmd;
}

static inline bool spi_bridge_ack_extract(const uint8_t *rx_buf, uint8_t len,
						   struct spi_bridge_ack_state *ack)
{
	if (!rx_buf || !ack || len < SPI_BRIDGE_ACK_LEN ||
	    rx_buf[0] != SPI_BRIDGE_ACK_HDR0 || rx_buf[1] != SPI_BRIDGE_ACK_HDR1) {
		return false;
	}

	uint8_t flags = rx_buf[SPI_BRIDGE_ACK_FLAGS_INDEX];
	if ((flags & SPI_BRIDGE_ACK_FLAG_MAGIC_MASK) != SPI_BRIDGE_ACK_FLAG_MAGIC_VALUE) {
		return false;
	}

	uint8_t raw_led = rx_buf[SPI_BRIDGE_ACK_LED_INDEX];
	ack->frame_counter = (uint16_t)rx_buf[SPI_BRIDGE_ACK_COUNT_LO_INDEX] |
		((uint16_t)rx_buf[SPI_BRIDGE_ACK_COUNT_HI_INDEX] << 8);
	ack->host_led_bits = raw_led & SPI_BRIDGE_HOST_LED_MASK;
	ack->active_profile =
		(uint8_t)((raw_led & SPI_BRIDGE_ACK_LED_PROFILE_MASK) >> SPI_BRIDGE_ACK_LED_PROFILE_SHIFT);
	ack->ble_ind_active = (raw_led & SPI_BRIDGE_ACK_LED_BLE_IND_ACTIVE) != 0u;
	ack->ble_ind_on = (raw_led & SPI_BRIDGE_ACK_LED_BLE_IND_ON) != 0u;
	ack->flags = flags;
	ack->led_valid = (flags & SPI_BRIDGE_ACK_FLAG_LED_VALID) != 0u;
	ack->last_ctrl_seq = rx_buf[SPI_BRIDGE_ACK_CTRL_SEQ_INDEX];
	ack->last_ctrl_cmd = rx_buf[SPI_BRIDGE_ACK_CTRL_CMD_INDEX];
	return true;
}

static inline bool spi_bridge_frame_control_cmd(const uint8_t frame[SPI_BRIDGE_FRAME_LEN],
						 uint8_t *cmd, uint8_t *sequence)
{
	if (!frame || frame[0] != SPI_BRIDGE_CTRL_HDR0 || frame[1] != SPI_BRIDGE_CTRL_HDR1 ||
	    frame[SPI_BRIDGE_CTRL_TAIL_INDEX] != SPI_BRIDGE_CTRL_TAIL ||
	    frame[SPI_BRIDGE_CTRL_CRC_INDEX] !=
		spi_bridge_crc8(frame, SPI_BRIDGE_CTRL_CRC_INDEX)) {
		return false;
	}

	uint8_t control = frame[SPI_BRIDGE_CTRL_CMD_INDEX];
	uint8_t control_sequence = frame[SPI_BRIDGE_CTRL_SEQ_INDEX];

	if (!spi_bridge_control_cmd_valid(control) ||
	    frame[SPI_BRIDGE_CTRL_CMD_INV_INDEX] != (uint8_t)~control ||
	    frame[SPI_BRIDGE_CTRL_SEQ_INV_INDEX] != (uint8_t)~control_sequence) {
		return false;
	}

	if (cmd) {
		*cmd = control;
	}
	if (sequence) {
		*sequence = control_sequence;
	}
	return true;
}
```

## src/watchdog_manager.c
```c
#include "watchdog_manager.h"

#include <zephyr/kernel.h>
#include <zephyr/device.h>
#include <zephyr/drivers/watchdog.h>
#include <zephyr/sys/printk.h>

#define WDT_TIMEOUT_MS 6000U
#define WDT_FEED_INTERVAL_MS 1500U

static const struct device *const wdt = DEVICE_DT_GET(DT_ALIAS(watchdog0));
static int wdt_channel_id = -1;
static struct k_work_delayable wdt_feed_work;

void watchdog_manager_feed(void)
{
	if (wdt_channel_id >= 0 && device_is_ready(wdt)) {
		wdt_feed(wdt, wdt_channel_id);
	}
}

static void wdt_feed_work_fn(struct k_work *work)
{
	ARG_UNUSED(work);
	watchdog_manager_feed();
	(void)k_work_reschedule(&wdt_feed_work, K_MSEC(WDT_FEED_INTERVAL_MS));
}

int watchdog_manager_init(void)
{
	if (!device_is_ready(wdt)) {
		printk("Watchdog device not ready\n");
		return -ENODEV;
	}

	struct wdt_timeout_cfg wdt_config = {
		.flags = WDT_FLAG_RESET_SOC,
		.window.min = 0U,
		.window.max = WDT_TIMEOUT_MS,
		.callback = NULL,
	};

	wdt_channel_id = wdt_install_timeout(wdt, &wdt_config);
	if (wdt_channel_id < 0) {
		printk("Watchdog install timeout failed: %d\n", wdt_channel_id);
		return wdt_channel_id;
	}

	int ret = wdt_setup(wdt, WDT_OPT_PAUSE_HALTED_BY_DBG);
	if (ret < 0) {
		printk("Watchdog setup failed: %d\n", ret);
		return ret;
	}

	printk("Hardware watchdog started: timeout=%u ms, channel=%d\n",
	       WDT_TIMEOUT_MS, wdt_channel_id);

	k_work_init_delayable(&wdt_feed_work, wdt_feed_work_fn);
	(void)k_work_schedule(&wdt_feed_work, K_MSEC(WDT_FEED_INTERVAL_MS));
	return 0;
}
```

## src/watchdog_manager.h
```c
#ifndef WATCHDOG_MANAGER_H_
#define WATCHDOG_MANAGER_H_

#include <stdbool.h>

int watchdog_manager_init(void);
void watchdog_manager_feed(void);

#endif /* WATCHDOG_MANAGER_H_ */
```
